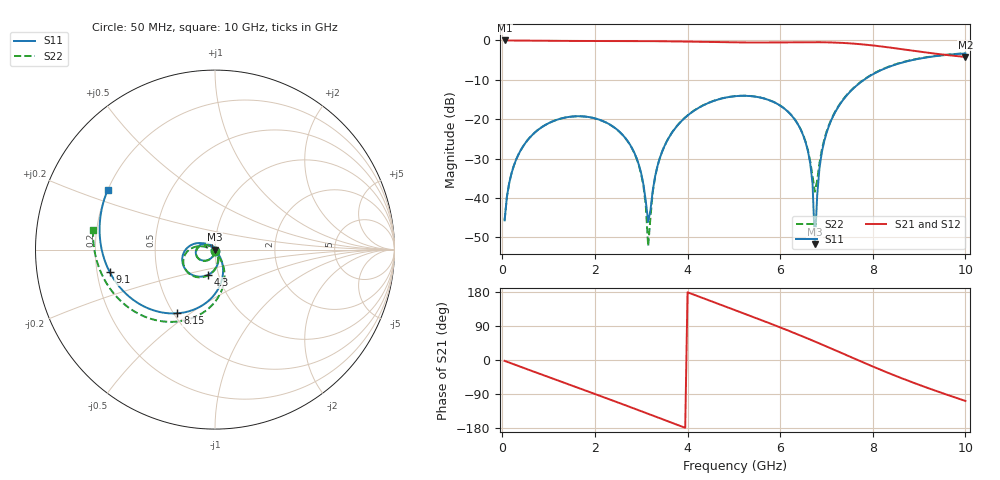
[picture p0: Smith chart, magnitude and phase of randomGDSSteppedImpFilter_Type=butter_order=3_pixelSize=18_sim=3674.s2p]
! freq	dB(S11)	phase(S11)	dB(S12)	phase(S12)
!  dB(S21)	phase(S21)	dB(S22)	phase(S22)
!S-par simulation data
#  GHz  S  DB  R 50
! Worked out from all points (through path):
!   200 points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, 50 MHz to 10 GHz, reference 50 ohm
!   highest |S21| = 0.00 dB at 50 MHz (marker M1); lowest = -4.2 dB at 10 GHz (marker M2)
!   group delay of S21, straight-line fit = 132 ps
!   lowest |S11| = -51.8 dB at 6.75 GHz (marker M3), VSWR 1.01, Z = 49.7 + j0.0394 ohm
!   |S11| at or under -10 dB: start of sweep to 7.811 GHz
!   |S22| runs from -52.3 to -3.3 dB; largest |S21 - S12| = 0
!   S11 on the Smith chart (normalised r, x): 50 MHz: 1.00, -0.01; 4.3 GHz: 0.89, -0.26; 8.15 GHz: 0.52, -0.45; 9.1 GHz: 0.25, -0.10; 10 GHz: 0.20, +0.25
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0.05  -45.70 -91.7  -0.00 -2.3  -0.00 -2.3  -45.70 -91.7
0.2  -33.71 -99.1  -0.02 -9.1  -0.02 -9.1  -33.71 -98.8
0.5  -26.03 -113.1  -0.04 -22.6  -0.04 -22.6  -26.02 -112.4
1.75  -19.30 -171.2  -0.14 -78.5  -0.14 -78.5  -19.31 -168.2
2.8  -27.33 136.5  -0.16 -125.9  -0.16 -125.9  -27.39 147.2
3.05  -36.71 112.2  -0.17 -137.3  -0.17 -137.3  -37.17 142.0
3.15  -46.11 51.9  -0.17 -142.0  -0.17 -142.0  -52.27 -168.7
3.25  -38.05 -35.5  -0.18 -146.6  -0.18 -146.6  -38.42 -66.1
3.4  -29.94 -56.5  -0.20 -153.5  -0.20 -153.5  -29.94 -66.4
4.3  -16.73 -105.3  -0.36 164.8  -0.36 164.8  -16.69 -103.9
5.05  -14.14 -140.9  -0.50 130.4  -0.50 130.4  -14.12 -136.8
6.25  -19.10 161.7  -0.46 73.9  -0.46 73.9  -19.08 172.0
6.55  -25.89 146.9  -0.44 59.0  -0.44 59.0  -25.77 164.7
6.7  -36.46 141.3  -0.44 51.3  -0.44 51.3  -34.69 -175.9
6.75  -51.77 171.2  -0.44 48.8  -0.44 48.8  -38.45 -134.9
6.85  -32.32 -51.7  -0.45 43.6  -0.45 43.6  -31.09 -68.3
7.05  -21.83 -61.1  -0.49 33.1  -0.49 33.1  -21.59 -61.6
7.5  -13.15 -85.4  -0.73 9.2  -0.73 9.2  -13.05 -79.5
8.15  -7.70 -120.6  -1.47 -24.8  -1.47 -24.8  -7.62 -110.9
8.35  -6.71 -131.0  -1.77 -34.8  -1.77 -34.8  -6.63 -120.3
9.1  -4.43 -168.1  -2.98 -70.0  -2.98 -70.0  -4.37 -153.4
10  -3.30 150.8  -4.19 -108.1  -4.19 -108.1  -3.26 171.0
